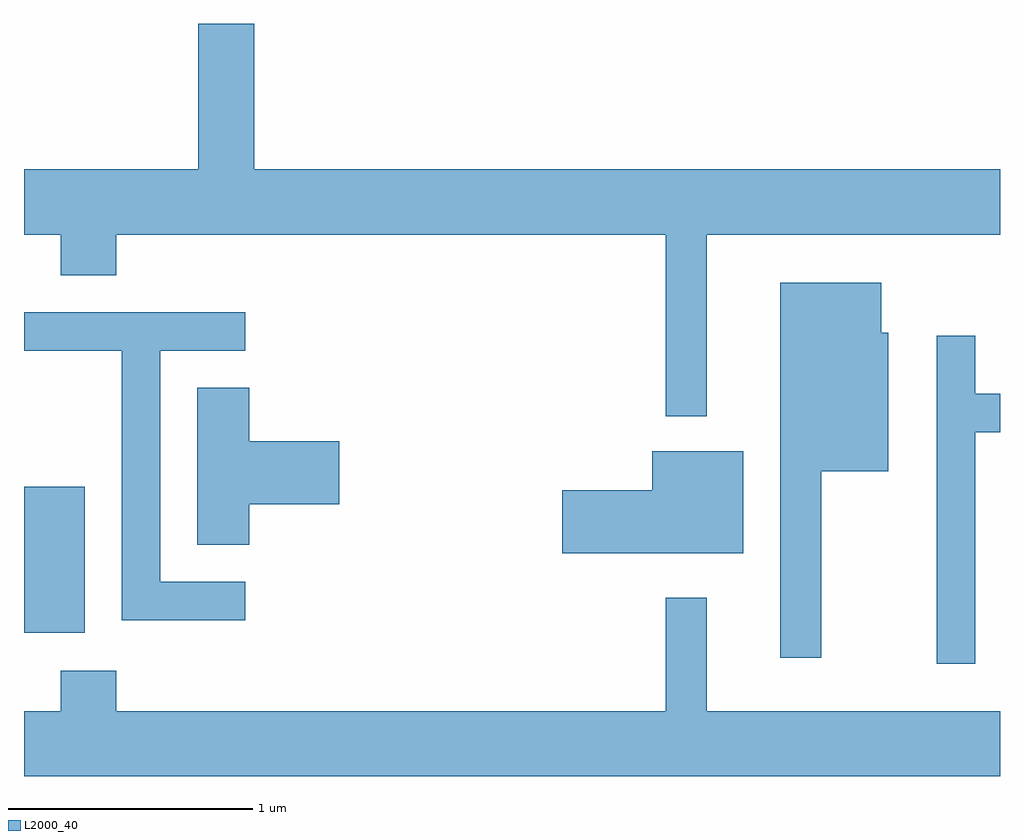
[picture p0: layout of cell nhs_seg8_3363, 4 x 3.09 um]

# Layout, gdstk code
import gdstk
lib = gdstk.Library(unit=1e-6, precision=1e-09)
def R(c, l, rs):  # rectangles x0, y0, x1, y1
    for r in rs: c.add(gdstk.rectangle(r[:2], r[2:], *l))
def P(c, l, *ps):  # polygons
    for p in ps: c.add(gdstk.Polygon(p, *l))
L2000_40 = (2000, 40)

nhs_seg8_3363 = lib.new_cell('nhs_seg8_3363')
R(nhs_seg8_3363, L2000_40, [(285.611,1885.846,285.859,1886.444)])
P(nhs_seg8_3363, L2000_40, [(288.409,1887.476),(289.611,1887.476),(289.611,1887.744),(286.554,1887.744),(286.554,1888.342),(286.326,1888.342),(286.326,1887.744),(285.611,1887.744),(285.611,1887.476),(285.761,1887.476),(285.761,1887.311),(285.989,1887.311),(285.989,1887.476),(288.241,1887.476),(288.241,1886.733),(288.409,1886.733)],
  [(288.879,1886.506),(289.154,1886.506),(289.154,1887.074),(289.124,1887.074),(289.124,1887.279),(288.711,1887.279),(288.711,1885.743),(288.879,1885.743)],
  [(286.518,1886.054),(286.169,1886.054),(286.169,1887.001),(286.518,1887.001),(286.518,1887.159),(285.611,1887.159),(285.611,1887.001),(286.011,1887.001),(286.011,1885.896),(286.518,1885.896)],
  [(289.509,1886.666),(289.611,1886.666),(289.611,1886.824),(289.509,1886.824),(289.509,1887.063),(289.351,1887.063),(289.351,1885.718),(289.509,1885.718)],
  [(286.534,1886.371),(286.904,1886.371),(286.904,1886.629),(286.534,1886.629),(286.534,1886.849),(286.321,1886.849),(286.321,1886.206),(286.534,1886.206)],
  [(288.559,1886.589),(288.186,1886.589),(288.186,1886.429),(287.816,1886.429),(287.816,1886.171),(288.559,1886.171)],
  [(289.611,1885.524),(288.409,1885.524),(288.409,1885.988),(288.241,1885.988),(288.241,1885.524),(285.989,1885.524),(285.989,1885.689),(285.761,1885.689),(285.761,1885.524),(285.611,1885.524),(285.611,1885.256),(289.611,1885.256)])

lib.write_gds('nhs_seg8_3363.gds')
